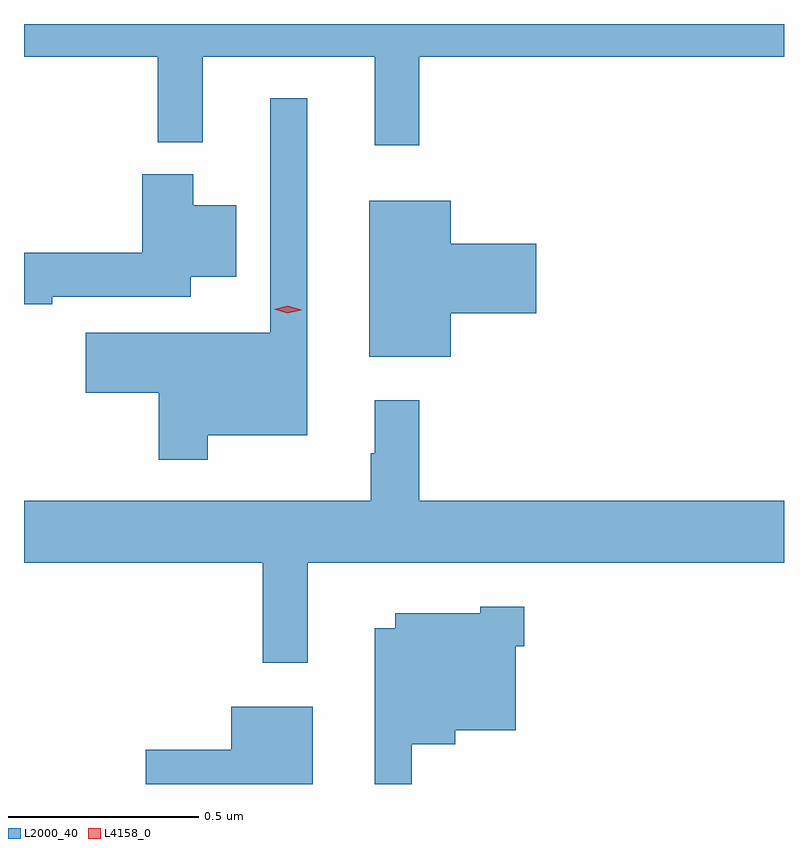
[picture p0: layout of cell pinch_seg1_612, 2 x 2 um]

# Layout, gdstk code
import gdstk
lib = gdstk.Library(unit=1e-6, precision=1e-09)
def P(c, l, *ps):  # polygons
    for p in ps: c.add(gdstk.Polygon(p, *l))
L2000_40 = (2000, 40)
L4158_0 = (4158, 0)

pinch_seg1_612 = lib.new_cell('pinch_seg1_612')
P(pinch_seg1_612, L2000_40, [(1017.887,515.768),(1018.847,515.768),(1018.847,515.854),(1016.847,515.854),(1016.847,515.768),(1017.199,515.768),(1017.199,515.543),(1017.317,515.543),(1017.317,515.768),(1017.77,515.768),(1017.77,515.535),(1017.887,515.535)],
  [(1017.331,514.772),(1017.592,514.772),(1017.592,515.659),(1017.495,515.659),(1017.495,515.041),(1017.009,515.041),(1017.009,514.883),(1017.202,514.883),(1017.202,514.707),(1017.331,514.707)],
  [(1016.921,515.136),(1017.286,515.136),(1017.286,515.189),(1017.406,515.189),(1017.406,515.377),(1017.292,515.377),(1017.292,515.458),(1017.158,515.458),(1017.158,515.252),(1016.847,515.252),(1016.847,515.116),(1016.921,515.116)],
  [(1017.97,515.093),(1018.195,515.093),(1018.195,515.276),(1017.97,515.276),(1017.97,515.389),(1017.755,515.389),(1017.755,514.979),(1017.97,514.979)],
  [(1017.594,514.436),(1018.847,514.436),(1018.847,514.6),(1017.887,514.6),(1017.887,514.864),(1017.77,514.864),(1017.77,514.724),(1017.759,514.724),(1017.759,514.6),(1016.847,514.6),(1016.847,514.436),(1017.475,514.436),(1017.475,514.173),(1017.594,514.173)],
  [(1017.867,513.959),(1017.982,513.959),(1017.982,513.995),(1018.141,513.995),(1018.141,514.217),(1018.163,514.217),(1018.163,514.321),(1018.047,514.321),(1018.047,514.303),(1017.824,514.303),(1017.824,514.264),(1017.77,514.264),(1017.77,513.854),(1017.867,513.854)],
  [(1017.607,514.057),(1017.392,514.057),(1017.392,513.944),(1017.168,513.944),(1017.168,513.854),(1017.607,513.854)])
P(pinch_seg1_612, L4158_0, [(1017.54,515.093),(1017.506,515.104),(1017.505,515.104),(1017.506,515.104),(1017.541,515.113),(1017.576,515.102),(1017.576,515.102),(1017.576,515.101)])

lib.write_gds('pinch_seg1_612.gds')
